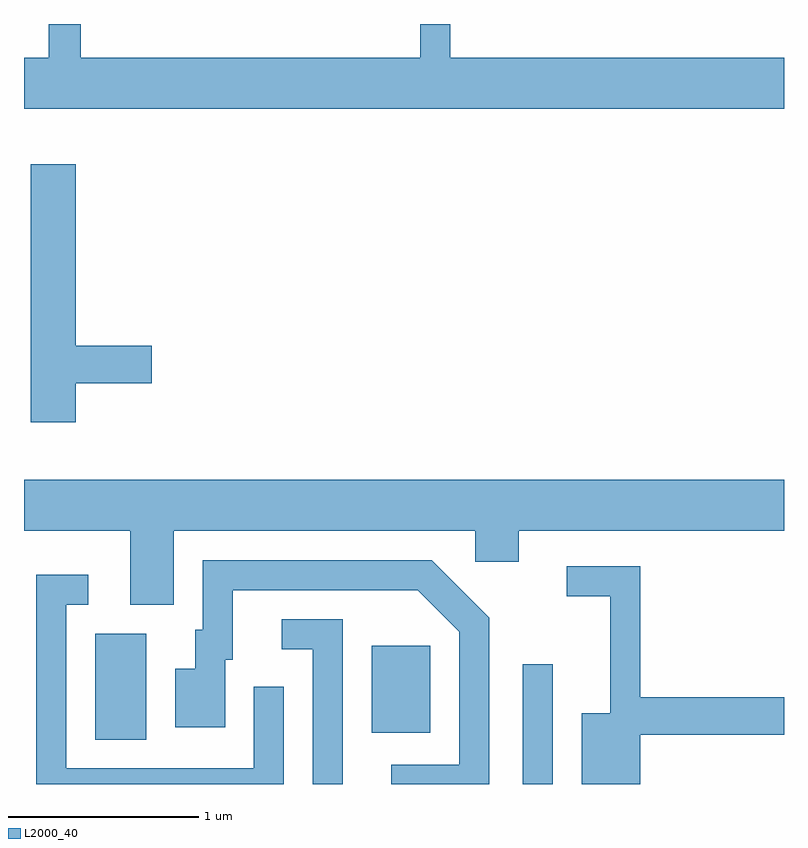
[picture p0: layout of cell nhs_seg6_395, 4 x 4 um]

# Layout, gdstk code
import gdstk
lib = gdstk.Library(unit=1e-6, precision=1e-09)
def R(c, l, rs):  # rectangles x0, y0, x1, y1
    for r in rs: c.add(gdstk.rectangle(r[:2], r[2:], *l))
def P(c, l, *ps):  # polygons
    for p in ps: c.add(gdstk.Polygon(p, *l))
L2000_40 = (2000, 40)

nhs_seg6_395 = lib.new_cell('nhs_seg6_395')
R(nhs_seg6_395, L2000_40, [(198.236,1644.162,198.394,1644.793), (195.986,1644.396,196.254,1644.954), (197.441,1644.431,197.749,1644.889)])
P(nhs_seg6_395, L2000_40, [(199.611,1647.984),(197.854,1647.984),(197.854,1648.162),(197.696,1648.162),(197.696,1647.984),(195.909,1647.984),(195.909,1648.162),(195.741,1648.162),(195.741,1647.984),(195.611,1647.984),(195.611,1647.716),(199.611,1647.716)],
  [(195.884,1646.271),(196.284,1646.271),(196.284,1646.469),(195.884,1646.469),(195.884,1647.424),(195.646,1647.424),(195.646,1646.066),(195.884,1646.066)],
  [(196.399,1645.496),(197.986,1645.496),(197.986,1645.331),(198.214,1645.331),(198.214,1645.496),(199.611,1645.496),(199.611,1645.764),(195.611,1645.764),(195.611,1645.496),(196.171,1645.496),(196.171,1645.106),(196.399,1645.106)],
  [(198.059,1645.037),(197.757,1645.339),(196.551,1645.339),(196.551,1644.974),(196.511,1644.974),(196.511,1644.769),(196.406,1644.769),(196.406,1644.461),(196.669,1644.461),(196.669,1644.816),(196.709,1644.816),(196.709,1645.181),(197.684,1645.181),(197.901,1644.964),(197.901,1644.264),(197.543,1644.264),(197.543,1644.162),(198.059,1644.162)],
  [(198.854,1644.421),(199.611,1644.421),(199.611,1644.619),(198.854,1644.619),(198.854,1645.309),(198.468,1645.309),(198.468,1645.151),(198.696,1645.151),(198.696,1644.534),(198.546,1644.534),(198.546,1644.162),(198.854,1644.162)],
  [(196.979,1644.673),(196.821,1644.673),(196.821,1644.244),(195.834,1644.244),(195.834,1645.106),(195.948,1645.106),(195.948,1645.264),(195.676,1645.264),(195.676,1644.162),(196.979,1644.162)],
  [(197.289,1645.029),(196.968,1645.029),(196.968,1644.871),(197.131,1644.871),(197.131,1644.162),(197.289,1644.162)])

lib.write_gds('nhs_seg6_395.gds')
